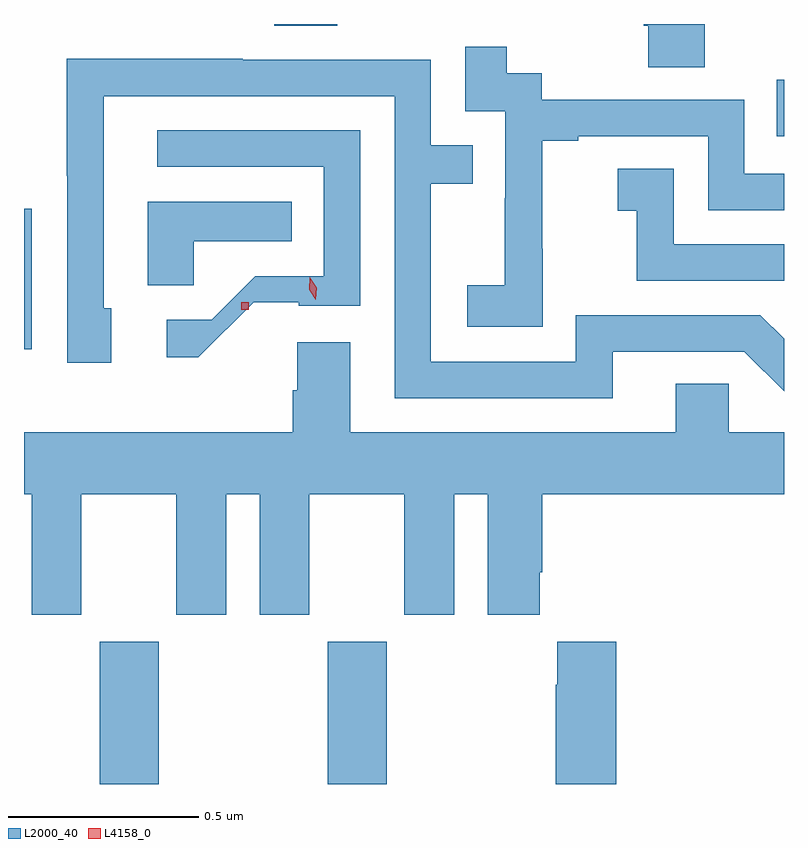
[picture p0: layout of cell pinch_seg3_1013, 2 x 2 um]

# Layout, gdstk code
import gdstk
lib = gdstk.Library(unit=1e-6, precision=1e-09)
def R(c, l, rs):  # rectangles x0, y0, x1, y1
    for r in rs: c.add(gdstk.rectangle(r[:2], r[2:], *l))
def P(c, l, *ps):  # polygons
    for p in ps: c.add(gdstk.Polygon(p, *l))
L2000_40 = (2000, 40)
L4158_0 = (4158, 0)

pinch_seg3_1013 = lib.new_cell('pinch_seg3_1013')
R(pinch_seg3_1013, L2000_40, [(498.457,698.822,498.612,699.196), (499.057,698.822,499.212,699.196), (498.258,699.966,498.279,700.336), (500.239,700.527,500.258,700.675), (498.917,700.817,499.082,700.822)])
P(pinch_seg3_1013, L2000_40, [(500.049,700.822),(499.889,700.822),(499.889,700.818),(499.901,700.818),(499.901,700.708),(500.049,700.708)],
  [(499.623,700.231),(499.622,700.231),(499.622,700.515),(499.717,700.515),(499.717,700.527),(500.058,700.527),(500.058,700.332),(500.258,700.332),(500.258,700.428),(500.154,700.428),(500.154,700.623),(499.62,700.623),(499.62,700.692),(499.528,700.692),(499.528,700.762),(499.419,700.762),(499.419,700.593),(499.524,700.593),(499.524,700.364),(499.523,700.364),(499.523,700.135),(499.425,700.135),(499.425,700.025),(499.623,700.025)],
  [(499.807,699.96),(500.154,699.96),(500.258,699.856),(500.258,699.994),(500.196,700.056),(499.71,700.056),(499.71,699.933),(499.329,699.933),(499.329,700.402),(499.439,700.402),(499.439,700.503),(499.329,700.503),(499.329,700.728),(498.833,700.728),(498.833,700.73),(498.37,700.73),(498.37,700.423),(498.372,700.423),(498.372,699.93),(498.487,699.93),(498.487,700.074),(498.468,700.074),(498.468,700.632),(499.233,700.632),(499.233,699.837),(499.807,699.837)],
  [(498.862,700.09),(498.981,700.09),(498.981,700.081),(499.143,700.081),(499.143,700.542),(498.609,700.542),(498.609,700.446),(499.047,700.446),(499.047,700.158),(498.866,700.158),(498.752,700.044),(498.633,700.044),(498.633,699.945),(498.717,699.945)],
  [(500.258,700.242),(499.968,700.242),(499.968,700.441),(499.821,700.441),(499.821,700.331),(499.87,700.331),(499.87,700.146),(500.258,700.146)],
  [(498.705,700.25),(498.962,700.25),(498.962,700.354),(498.584,700.354),(498.584,700.135),(498.705,700.135)],
  [(498.409,699.584),(498.659,699.584),(498.659,699.267),(498.79,699.267),(498.79,699.584),(498.878,699.584),(498.878,699.267),(499.009,699.267),(499.009,699.584),(499.259,699.584),(499.259,699.267),(499.39,699.267),(499.39,699.584),(499.478,699.584),(499.478,699.267),(499.615,699.267),(499.615,699.379),(499.622,699.379),(499.622,699.584),(500.258,699.584),(500.258,699.748),(500.112,699.748),(500.112,699.875),(499.973,699.875),(499.973,699.748),(499.117,699.748),(499.117,699.985),(498.977,699.985),(498.977,699.858),(498.965,699.858),(498.965,699.748),(498.258,699.748),(498.258,699.584),(498.278,699.584),(498.278,699.267),(498.409,699.267)],
  [(499.817,699.196),(499.661,699.196),(499.661,699.083),(499.657,699.083),(499.657,698.822),(499.817,698.822)])
R(pinch_seg3_1013, L4158_0, [(498.83,700.07,498.85,700.09)])
P(pinch_seg3_1013, L4158_0, [(499.026,700.096),(499.026,700.096),(499.009,700.123),(499.01,700.155),(499.01,700.155),(499.01,700.155),(499.028,700.128),(499.026,700.096)])

lib.write_gds('pinch_seg3_1013.gds')
